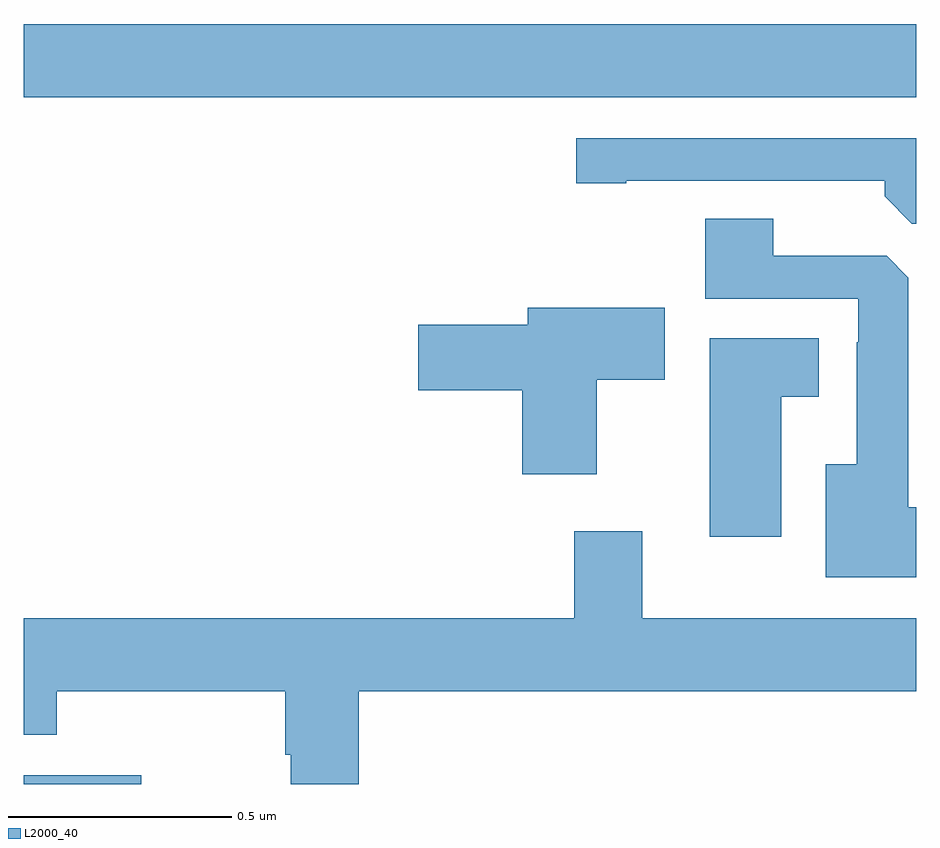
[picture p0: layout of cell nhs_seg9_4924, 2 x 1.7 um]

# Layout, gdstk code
import gdstk
lib = gdstk.Library(unit=1e-6, precision=1e-09)
def R(c, l, rs):  # rectangles x0, y0, x1, y1
    for r in rs: c.add(gdstk.rectangle(r[:2], r[2:], *l))
def P(c, l, *ps):  # polygons
    for p in ps: c.add(gdstk.Polygon(p, *l))
L2000_40 = (2000, 40)

nhs_seg9_4924 = lib.new_cell('nhs_seg9_4924')
R(nhs_seg9_4924, L2000_40, [(172,1241.5,172.263,1241.52), (172,1243.04,174,1243.204)])
P(nhs_seg9_4924, L2000_40, [(174,1242.948),(173.238,1242.948),(173.238,1242.847),(173.35,1242.847),(173.35,1242.852),(173.93,1242.852),(173.93,1242.818),(173.991,1242.756),(174,1242.756)],
  [(174,1242.121),(173.983,1242.121),(173.983,1242.635),(173.934,1242.684),(173.68,1242.684),(173.68,1242.767),(173.528,1242.767),(173.528,1242.588),(173.871,1242.588),(173.871,1242.491),(173.867,1242.491),(173.867,1242.217),(173.798,1242.217),(173.798,1241.963),(174,1241.963)],
  [(173.284,1242.406),(173.437,1242.406),(173.437,1242.568),(173.129,1242.568),(173.129,1242.53),(172.884,1242.53),(172.884,1242.383),(173.117,1242.383),(173.117,1242.195),(173.284,1242.195)],
  [(173.698,1242.368),(173.782,1242.368),(173.782,1242.499),(173.537,1242.499),(173.537,1242.054),(173.698,1242.054)],
  [(172.751,1241.708),(174,1241.708),(174,1241.872),(173.386,1241.872),(173.386,1242.067),(173.234,1242.067),(173.234,1241.872),(172,1241.872),(172,1241.61),(172.073,1241.61),(172.073,1241.708),(172.586,1241.708),(172.586,1241.566),(172.598,1241.566),(172.598,1241.5),(172.751,1241.5)])

lib.write_gds('nhs_seg9_4924.gds')
